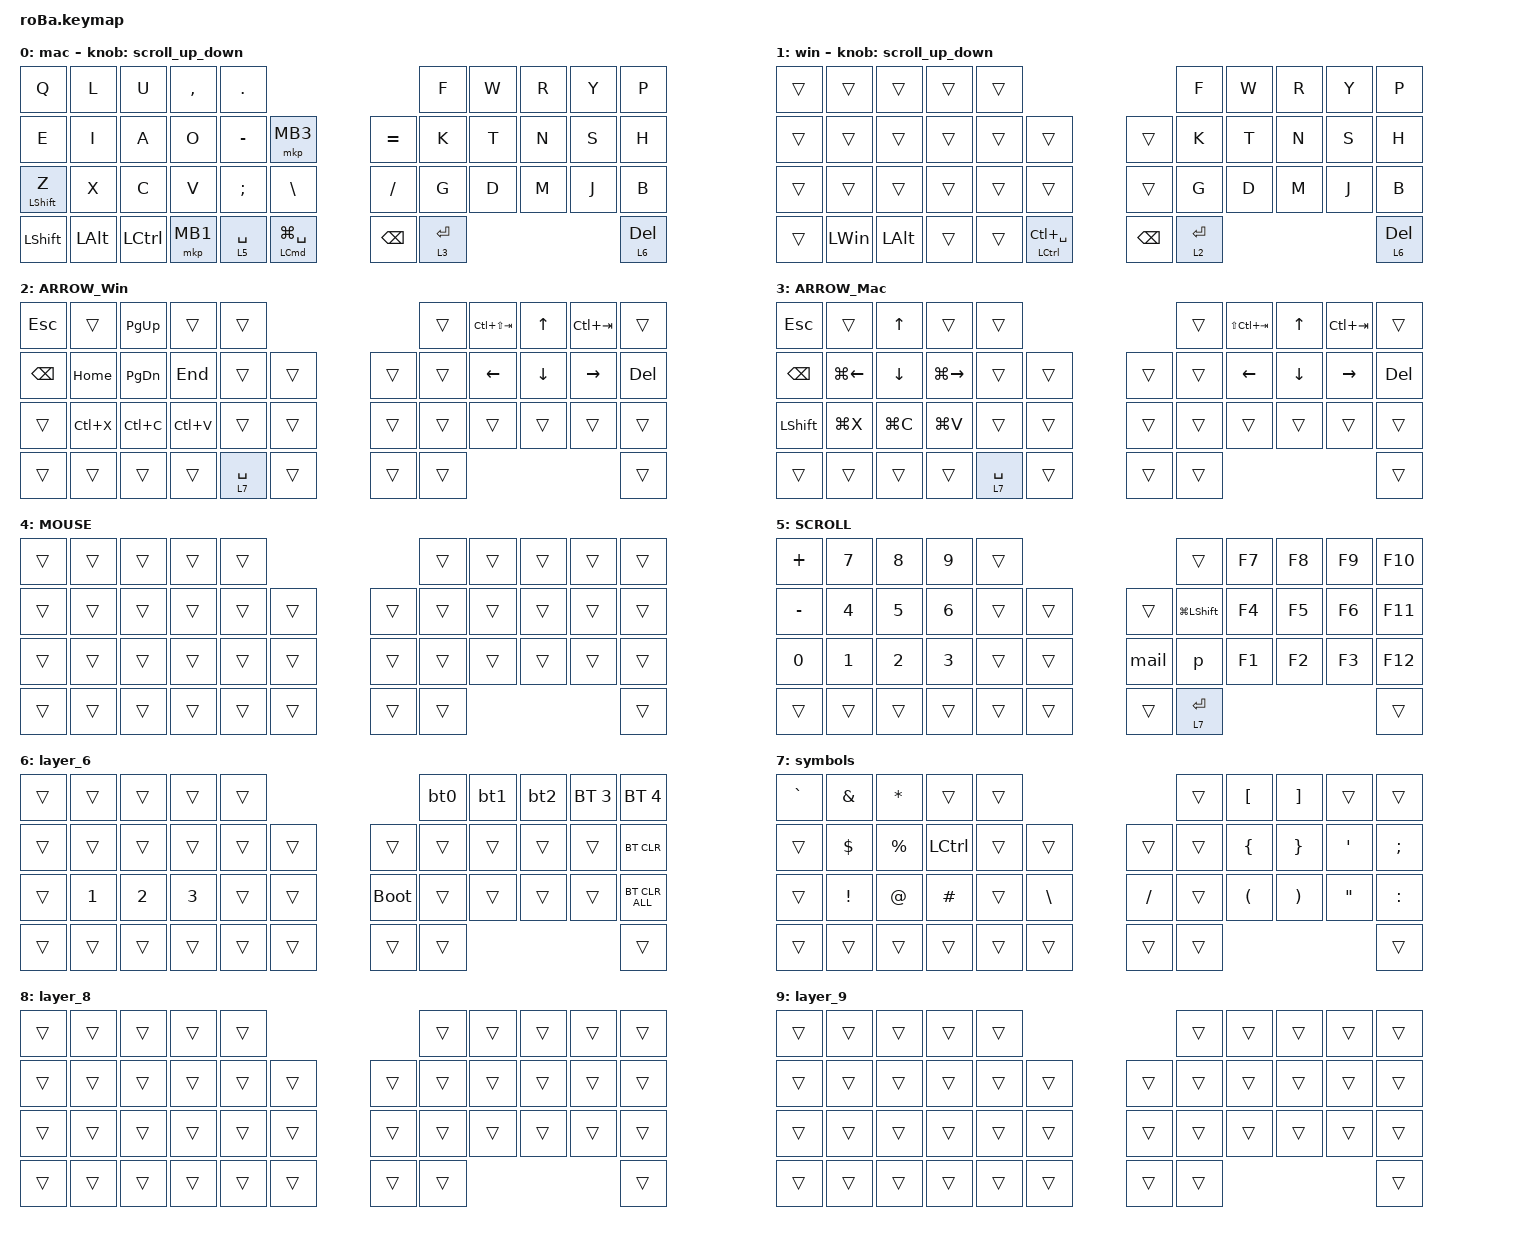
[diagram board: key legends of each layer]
#include <behaviors.dtsi>
#include <dt-bindings/zmk/bt.h>
#include <dt-bindings/zmk/keys.h>
#include <dt-bindings/zmk/pointing.h>

#define MOUSE 4
#define SCROLL 5
#define NUM 6
#define ZMK_POINTING_DEFAULT_SCRL_VAL 100

&mt {
    flavor = "balanced";
    quick-tap-ms = <0>;
};

/ {
    combos {
        compatible = "zmk,combos";

        tab {
            bindings = <&kp TAB>;
            key-positions = <11 12>;
        };

        shift_tab {
            bindings = <&kp LS(TAB)>;
            key-positions = <12 13>;
        };

        semi_colon {
            bindings = <&kp SEMICOLON>;
            key-positions = <20 21>;
        };

        quotation {
            bindings = <&kp SQT>;
            key-positions = <32 33>;
        };

        right_click {
            bindings = <&mkp MB1>;
            key-positions = <18 19>;
        };

        left_click {
            bindings = <&mkp MB2>;
            key-positions = <19 20>;
        };

        scroll {
            bindings = <&mo 5>;
            key-positions = <18 20>;
        };

        slash {
            bindings = <&kp SLASH>;
            key-positions = <8 9>;
        };

        Right_command {
            bindings = <&kp RIGHT_SHIFT>;
            key-positions = <30 31>;
        };
    };

    macros {
        bt0: to_layer_0 {
            compatible = "zmk,behavior-macro";
            #binding-cells = <0>;
            bindings =
                <&tog_off 1 &tog_off 0>,
                <&macro_wait_time 200>,
                <&bt BT_SEL 0>,
                <&macro_wait_time 500>;

            label = "TO_LAYER_0";
        };

        bt1: new_macro {
            compatible = "zmk,behavior-macro";
            #binding-cells = <0>;
            bindings =
                <&tog_off 1 &tog_off 0>,
                <&macro_wait_time 200>,
                <&bt BT_SEL 1>,
                <&macro_wait_time 500>,
                <&tog_on 1>;

            label = "NEW_MACRO";
        };

        p: pass {
            compatible = "zmk,behavior-macro";
            #binding-cells = <0>;
            bindings = <&kp LS(K) &kp U &kp R &kp A &kp I &kp T &kp O &kp N0 &kp N2 &kp N0 &kp NUMBER_3 &kp NUMBER_2 &kp NUMBER_3 &kp EXCLAMATION &kp EXCLAMATION &kp EXCLAMATION &kp EXCLAMATION &kp EXCLAMATION>;
            label = "PASS";
        };

        mail: mail {
            compatible = "zmk,behavior-macro";
            #binding-cells = <0>;
            bindings = <&kp LS(K) &kp Y &kp K &kp O &kp S &kp E &kp I &kp AT_SIGN &kp I &kp B &kp M &kp PERIOD &kp C &kp O &kp M>;
            label = "MAIL";
        };

        bt2: bt2 {
            compatible = "zmk,behavior-macro";
            #binding-cells = <0>;
            bindings =
                <&tog_off 1 &tog_off 0>,
                <&macro_wait_time 200>,
                <&bt BT_SEL 2>,
                <&macro_wait_time 500>,
                <&tog_on 1>;

            label = "BT2";
        };
    };

    behaviors {
        lt_to_layer_0: lt_to_layer_0 {
            compatible = "zmk,behavior-hold-tap";
            label = "LAYER_TAP_TO_0";
            bindings = <&mo>, <&bt0>;

            #binding-cells = <2>;
            tapping-term-ms = <200>;
        };

        tog_on: toggle_layer_on_only {
            compatible = "zmk,behavior-toggle-layer";
            #binding-cells = <1>;
            display-name = "Toggle Layer On";
            toggle-mode = "on";
        };

        tog_off: toggle_layer_off_only {
            compatible = "zmk,behavior-toggle-layer";
            #binding-cells = <1>;
            display-name = "Toggle Layer Off";
            toggle-mode = "off";
        };

        scroll_up_down: behavior_sensor_rotate_mouse_wheel_up_down {
            compatible = "zmk,behavior-sensor-rotate";
            #sensor-binding-cells = <0>;
            bindings = <&msc SCRL_DOWN>, <&msc SCRL_UP>;

            // 追加: スクロールのタップ時間を設定 (20ms)

            tap-ms = <20>;
        };
    };

    keymap {
        compatible = "zmk,keymap";

        mac {
            bindings = <
&kp Q             &kp L         &kp U             &kp COMMA  &kp PERIOD                                                    &kp F        &kp W  &kp R  &kp Y  &kp P
&kp E             &kp I         &kp A             &kp O      &kp MINUS      &mkp MB3                        &kp EQUAL      &kp K        &kp T  &kp N  &kp S  &kp H
&mt LEFT_SHIFT Z  &kp X         &kp C             &kp V      &kp SEMICOLON  &kp BACKSLASH                   &kp SLASH      &kp G        &kp D  &kp M  &kp J  &kp B
&kp LEFT_SHIFT    &kp LEFT_ALT  &kp LEFT_CONTROL  &mkp MB1   &lt 5 SPACE    &mt LEFT_COMMAND LG(SPACE)      &kp BACKSPACE  &lt 3 ENTER                       &lt 6 DEL
            >;

            sensor-bindings = <&scroll_up_down>;
        };

        win {
            bindings = <
&trans  &trans        &trans        &trans  &trans                                                 &kp F        &kp W  &kp R  &kp Y  &kp P
&trans  &trans        &trans        &trans  &trans  &trans                          &trans         &kp K        &kp T  &kp N  &kp S  &kp H
&trans  &trans        &trans        &trans  &trans  &trans                          &trans         &kp G        &kp D  &kp M  &kp J  &kp B
&trans  &kp LEFT_WIN  &kp LEFT_ALT  &trans  &trans  &mt LEFT_CONTROL LC(SPACE)      &kp BACKSPACE  &lt 2 ENTER                       &lt 6 DELETE
            >;

            sensor-bindings = <&scroll_up_down>;
        };

        ARROW_Win {
            bindings = <
&kp ESC        &trans     &kp PAGE_UP    &trans     &trans                           &trans  &kp LC(LS(TAB))  &kp UP_ARROW    &kp LC(TAB)  &trans
&kp BACKSPACE  &kp HOME   &kp PAGE_DOWN  &kp END    &trans       &trans      &trans  &trans  &kp LEFT_ARROW   &kp DOWN_ARROW  &kp RIGHT    &kp DELETE
&trans         &kp LC(X)  &kp LC(C)      &kp LC(V)  &trans       &trans      &trans  &trans  &trans           &trans          &trans       &trans
&trans         &trans     &trans         &trans     &lt 7 SPACE  &trans      &trans  &trans                                                &trans
            >;
        };

        ARROW_Mac {
            bindings = <
&kp ESCAPE      &trans              &kp UP_ARROW    &trans               &trans                           &trans  &kp LS(LC(TAB))  &kp UP_ARROW    &kp LC(TAB)      &trans
&kp BACKSPACE   &kp LG(LEFT_ARROW)  &kp DOWN_ARROW  &kp LG(RIGHT_ARROW)  &trans       &trans      &trans  &trans  &kp LEFT         &kp DOWN_ARROW  &kp RIGHT_ARROW  &kp DELETE
&kp LEFT_SHIFT  &kp LG(X)           &kp LG(C)       &kp LG(V)            &trans       &trans      &trans  &trans  &trans           &trans          &trans           &trans
&trans          &trans              &trans          &trans               &lt 7 SPACE  &trans      &trans  &trans                                                    &trans
            >;
        };

        MOUSE {
            bindings = <
&trans  &trans  &trans  &trans  &trans                      &trans  &trans  &trans  &trans  &trans
&trans  &trans  &trans  &trans  &trans  &trans      &trans  &trans  &trans  &trans  &trans  &trans
&trans  &trans  &trans  &trans  &trans  &trans      &trans  &trans  &trans  &trans  &trans  &trans
&trans  &trans  &trans  &trans  &trans  &trans      &trans  &trans                          &trans
            >;
        };

        SCROLL {
            bindings = <
&kp PLUS   &kp N7        &kp N8        &kp N9        &trans                      &trans              &kp F7  &kp F8  &kp F9  &kp F10
&kp MINUS  &kp NUMBER_4  &kp NUMBER_5  &kp NUMBER_6  &trans  &trans      &trans  &kp LG(LEFT_SHIFT)  &kp F4  &kp F5  &kp F6  &kp F11
&kp N0     &kp NUMBER_1  &kp NUMBER_2  &kp NUMBER_3  &trans  &trans      &mail   &p                  &kp F1  &kp F2  &kp F3  &kp F12
&trans     &trans        &trans        &trans        &trans  &trans      &trans  &lt 7 ENTER                                 &trans
            >;
        };

        layer_6 {
            bindings = <
&trans  &trans        &trans        &trans        &trans                           &bt0    &bt1    &bt2    &bt BT_SEL 3  &bt BT_SEL 4
&trans  &trans        &trans        &trans        &trans  &trans      &trans       &trans  &trans  &trans  &trans        &bt BT_CLR
&trans  &kp NUMBER_1  &kp NUMBER_2  &kp NUMBER_3  &trans  &trans      &bootloader  &trans  &trans  &trans  &trans        &bt BT_CLR_ALL
&trans  &trans        &trans        &trans        &trans  &trans      &trans       &trans                                &trans
            >;
        };

        symbols {
            bindings = <
&kp GRAVE  &kp AMPERSAND    &kp ASTERISK  &trans     &trans                                &trans  &kp LEFT_BRACKET      &kp RIGHT_BRACKET      &trans             &trans
&trans     &kp DOLLAR       &kp PERCENT   &kp LCTRL  &trans  &trans             &trans     &trans  &kp LEFT_BRACE        &kp RIGHT_BRACE        &kp SQT            &kp SEMICOLON
&trans     &kp EXCLAMATION  &kp AT_SIGN   &kp HASH   &trans  &kp BACKSLASH      &kp SLASH  &trans  &kp LEFT_PARENTHESIS  &kp RIGHT_PARENTHESIS  &kp DOUBLE_QUOTES  &kp COLON
&trans     &trans           &trans        &trans     &trans  &trans             &trans     &trans                                                                  &trans
            >;
        };

        layer_8 {
            bindings = <
&trans  &trans  &trans  &trans  &trans                      &trans  &trans  &trans  &trans  &trans
&trans  &trans  &trans  &trans  &trans  &trans      &trans  &trans  &trans  &trans  &trans  &trans
&trans  &trans  &trans  &trans  &trans  &trans      &trans  &trans  &trans  &trans  &trans  &trans
&trans  &trans  &trans  &trans  &trans  &trans      &trans  &trans                          &trans
            >;
        };

        layer_9 {
            bindings = <
&trans  &trans  &trans  &trans  &trans                      &trans  &trans  &trans  &trans  &trans
&trans  &trans  &trans  &trans  &trans  &trans      &trans  &trans  &trans  &trans  &trans  &trans
&trans  &trans  &trans  &trans  &trans  &trans      &trans  &trans  &trans  &trans  &trans  &trans
&trans  &trans  &trans  &trans  &trans  &trans      &trans  &trans                          &trans
            >;
        };
    };
};
